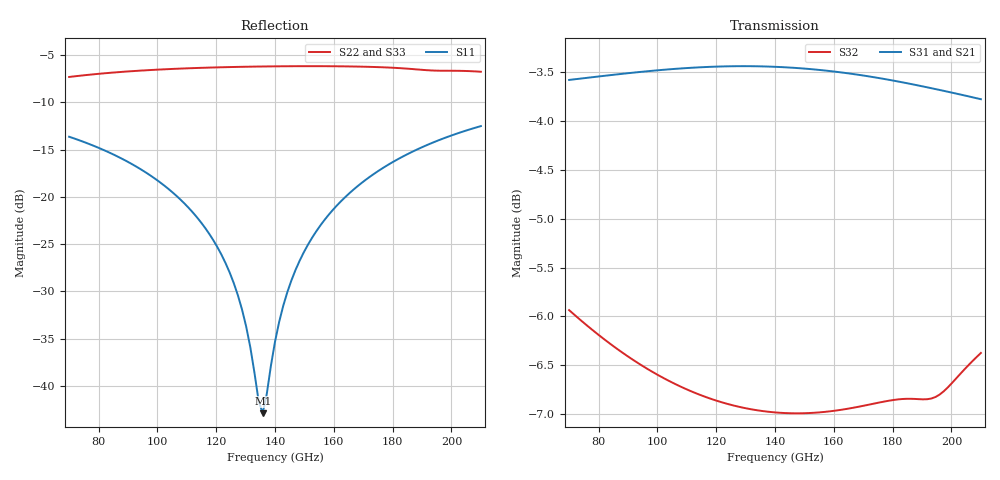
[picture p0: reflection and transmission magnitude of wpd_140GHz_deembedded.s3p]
! Created with skrf 2.2.0 (http://scikit-rf.org).
# GHz S DB R 50.0
! Port[1] = P1
! Port[2] = P2
! Port[3] = P3
!freq dBS11 angS11 dBS12 angS12 dBS13 angS13
! dBS21 angS21 dBS22 angS22 dBS23 angS23
! dBS31 angS31 dBS32 angS32 dBS33 angS33
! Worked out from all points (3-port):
!   101 points, 70 GHz to 210 GHz, reference 50 ohm
!   strongest paths, dB at 70 GHz, 105 GHz, 140 GHz, 175 GHz, 210 GHz:
!     S31: -3.6, -3.5, -3.4, -3.6, -3.8
!     S21: -3.6, -3.5, -3.5, -3.6, -3.8
!     S32: -5.9, -6.7, -7.0, -6.9, -6.4
!   lowest |S11| = -42.9 dB at 135.8 GHz (marker M1), VSWR 1.01, Z = 50.7 + j0.00837 ohm
!   |S11| at or under -10 dB: start of sweep to end of sweep
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70  -13.64 134.8  -3.59 -43.8  -3.58 -43.7
    -3.59 -43.8  -7.32 50.1  -5.94 -97.7
    -3.58 -43.7  -5.94 -97.7  -7.35 50.1
98  -17.81 116.2  -3.50 -61.8  -3.49 -61.8
    -3.50 -61.8  -6.58 24.9  -6.56 -131.2
    -3.49 -61.8  -6.56 -131.2  -6.61 24.9
116.2  -23.26 101.9  -3.47 -73.8  -3.45 -73.8
       -3.47 -73.8  -6.34 11.4  -6.82 -152.3
       -3.45 -73.8  -6.82 -152.3  -6.37 11.3
127.4  -30.42 87.0  -3.46 -81.3  -3.44 -81.2
       -3.46 -81.3  -6.25 3.6  -6.92 -165.1
       -3.44 -81.2  -6.92 -165.1  -6.28 3.6
135.8  -42.89 0.7  -3.46 -86.9  -3.45 -86.8
       -3.46 -86.9  -6.21 -2.0  -6.97 -174.7
       -3.45 -86.8  -6.97 -174.7  -6.24 -2.0
140  -35.32 -62.7  -3.46 -89.7  -3.45 -89.7
     -3.46 -89.7  -6.20 -4.8  -6.98 -179.5
     -3.45 -89.7  -6.98 -179.5  -6.23 -4.8
148.4  -26.73 -83.8  -3.48 -95.3  -3.46 -95.3
       -3.48 -95.3  -6.18 -10.3  -6.99 170.9
       -3.46 -95.3  -6.99 170.9  -6.21 -10.3
161  -20.92 -96.2  -3.51 -103.7  -3.50 -103.7
     -3.51 -103.7  -6.19 -18.7  -6.96 156.4
     -3.50 -103.7  -6.96 156.4  -6.22 -18.8
182  -15.98 -111.4  -3.61 -117.6  -3.60 -117.6
     -3.61 -117.6  -6.38 -33.6  -6.85 131.7
     -3.60 -117.6  -6.85 131.7  -6.40 -33.6
210  -12.51 -129.4  -3.79 -135.7  -3.78 -135.7
     -3.79 -135.7  -6.77 -54.7  -6.37 99.8
     -3.78 -135.7  -6.37 99.8  -6.78 -54.7
